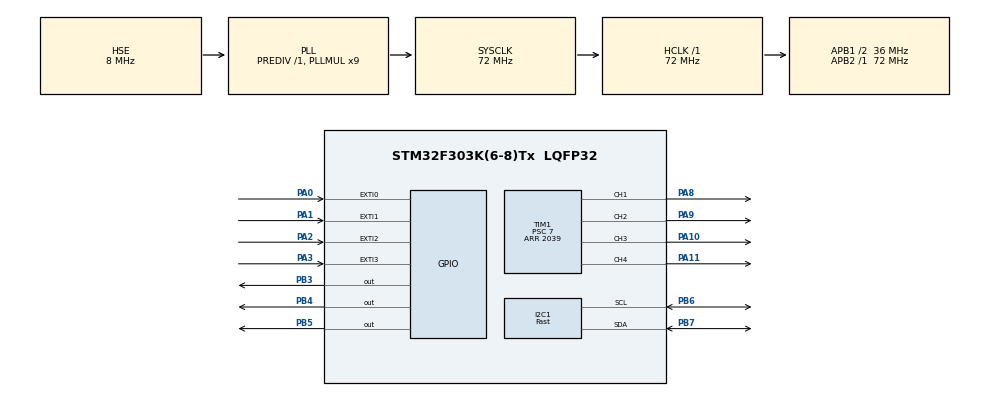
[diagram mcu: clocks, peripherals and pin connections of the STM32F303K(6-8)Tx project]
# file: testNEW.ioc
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I2C1.I2C_Speed_Mode=I2C_Fast
I2C1.Timing=0x0000020B
Mcu.Family=STM32F3
Mcu.Name=STM32F303K(6-8)Tx
Mcu.Package=LQFP32
NVIC.EXTI0_IRQn=true\:0\:0\:false\:false\:true\:true\:true
NVIC.EXTI1_IRQn=true\:0\:0\:false\:false\:true\:true\:true
NVIC.EXTI2_TSC_IRQn=true\:0\:0\:false\:false\:true\:true\:true
NVIC.EXTI3_IRQn=true\:0\:0\:false\:false\:true\:true\:true
NVIC.PriorityGroup=NVIC_PRIORITYGROUP_4
PA0.GPIO_ModeDefaultEXTI=GPIO_MODE_IT_RISING_FALLING
PA0.Signal=GPXTI0
PA1.GPIO_ModeDefaultEXTI=GPIO_MODE_IT_FALLING
PA1.Signal=GPXTI1
PA10.Signal=S_TIM1_CH3
PA11.Signal=S_TIM1_CH4
PA13.GPIO_Label=SWDIO
PA13.Mode=Serial_Wire
PA13.Signal=SYS_JTMS-SWDIO
PA14.GPIO_Label=SWCLK
PA14.Mode=Serial_Wire
PA14.Signal=SYS_JTCK-SWCLK
PA2.GPIO_ModeDefaultEXTI=GPIO_MODE_IT_FALLING
PA2.Signal=GPXTI2
PA3.GPIO_ModeDefaultEXTI=GPIO_MODE_IT_FALLING
PA3.Signal=GPXTI3
PA8.Signal=S_TIM1_CH1
PA9.Signal=S_TIM1_CH2
PB3.Signal=GPIO_Output
PB4.Signal=GPIO_Output
PB5.Signal=GPIO_Output
PB6.GPIO_FM6=__NULL
PB6.GPIO_PuPdOD=GPIO_NOPULL
PB6.Mode=I2C
PB6.Signal=I2C1_SCL
PB7.GPIO_FM7=__NULL
PB7.GPIO_PuPdOD=GPIO_NOPULL
PB7.Mode=I2C
PB7.Signal=I2C1_SDA
PF0\ /\ OSC_IN.GPIO_Label=MCO
PF0\ /\ OSC_IN.Mode=HSE-External-Clock-Source
PF0\ /\ OSC_IN.Signal=RCC_OSC_IN
ProjectManager.HeapSize=0x200
ProjectManager.StackSize=0x400
ProjectManager.TargetToolchain=SW4STM32
RCC.AHBFreq_Value=72000000
RCC.APB1CLKDivider=RCC_HCLK_DIV2
RCC.APB1Freq_Value=36000000
RCC.APB1TimFreq_Value=72000000
RCC.APB2Freq_Value=72000000
RCC.APB2TimFreq_Value=72000000
RCC.CortexFreq_Value=72000000
RCC.HCLKFreq_Value=72000000
RCC.HSE_VALUE=8000000
RCC.HSI_VALUE=8000000
RCC.PLLMUL=RCC_PLL_MUL9
RCC.PLLSourceVirtual=RCC_PLLSOURCE_HSE
RCC.SYSCLKFreq_VALUE=72000000
RCC.SYSCLKSourceVirtual=RCC_SYSCLKSOURCE_PLLCLK
SH.S_TIM1_CH1.0=TIM1_CH1,PWM Generation1 CH1
SH.S_TIM1_CH2.0=TIM1_CH2,PWM Generation2 CH2
SH.S_TIM1_CH3.0=TIM1_CH3,PWM Generation3 CH3
SH.S_TIM1_CH4.0=TIM1_CH4,PWM Generation4 CH4
TIM1.Channel-PWM\ Generation1\ CH1=TIM_CHANNEL_1
TIM1.Channel-PWM\ Generation2\ CH2=TIM_CHANNEL_2
TIM1.Channel-PWM\ Generation3\ CH3=TIM_CHANNEL_3
TIM1.Channel-PWM\ Generation4\ CH4=TIM_CHANNEL_4
TIM1.Period=2039
TIM1.Prescaler=7
TIM3.Period=4999
TIM3.Prescaler=7
VP_TIM1_VS_ClockSourceINT.Mode=Internal
VP_TIM3_VS_ClockSourceINT.Mode=Internal
board=NUCLEO-F303K8

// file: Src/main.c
/* USER CODE BEGIN Header */
/**
  ******************************************************************************
  * @file           : main.c
  * @brief          : Main program body
  ******************************************************************************
  * @attention
  *
  * <h2><center>&copy; Copyright (c) 2019 STMicroelectronics.
  * All rights reserved.</center></h2>
  *
  * This software component is licensed by ST under BSD 3-Clause license,
  * the "License"; You may not use this file except in compliance with the
  * License. You may obtain a copy of the License at:
  *                        opensource.org/licenses/BSD-3-Clause
  *
  ******************************************************************************
  */
/* USER CODE END Header */

#include "main.h"

/* USER CODE BEGIN Includes */
#include "common.h"
#include "config.h"
#include "setup.h"
#include "sensors.h"
#include "radio_input_normalization.h"
#include "pid.h"
#include "actuators.h"

   bool      armed;							  		    //Check if motors are enabled to spin
   uint8_t   check;
   uint16_t  throttle;						  		    //Raw radio channel 3 (CH3) value
   uint8_t   drone_config;							    //Vehicle configuration {QUADCOPTER,HEXACOPTER,OCTACOPTER}
   uint8_t   flight_mode;					  			//Flight controller mode (see enum modes at the beginning of the file)
   int       i;								  		    //General purpose variable used for loops
   float     cpu_load;								    //Used to know how much of time is left in control loop stay inside requested KHZ

   volatile uint16_t counter_rising_edge;	 			//Used to take the beginning of the radio pulse
   volatile uint16_t counter_falling_edge;	  		    //Used to take the end of the radio pulse
   volatile uint16_t global_input_count;      		    //Used to take the timer value at the beginning of each radio interrupt

   volatile uint8_t  CH_1_PREV_STATE;					//Take trace of the pulse edge for the channel
   volatile uint8_t  CH_2_PREV_STATE;					//Take trace of the pulse edge for the channel
   volatile uint8_t  CH_3_PREV_STATE;					//Take trace of the pulse edge for the channel
   volatile uint8_t  CH_4_PREV_STATE;					//Take trace of the pulse edge for the channel

   volatile uint16_t radio_channel_pulse[RADIO_CH_N];	//Radio pulse array

   uint16_t controller_speed; 				        //Choosen speed for control loop
   uint16_t default_controller_speed;					//Used to know when switching back from stabilized to acro if increase control loop rate or not

   float traveled_angle_multiplier;					//Variable used for gyro integration in stabilized mode
   float yaw_load_transfer_multiplier;				//Variable used for load tranfer from pitch to roll (and viceversa)
   uint8_t i2c_buffer[14];							//Buffer used to read/write data from MPU-6050 communication over I2C bus

   float angle_correction;

   uint16_t speedVec[MAX_MOTOR_N];				    //Motors speed array (min 4 motors - max 8 motors)

   float gyro_pitch_input;							//X axis angle
   float gyro_roll_input;							//Y axis angle
   float gyro_yaw_input;							//Z axis angle

   int16_t gyro_raw_x;								//X axis gyro raw value
   int16_t gyro_raw_y;								//Y axis gyro raw value
   int16_t gyro_raw_z;								//Z axis gyro raw value

   int32_t gyro_raw_error_x;							//Specific sensor X axis error mitigation
   int32_t gyro_raw_error_y;							//Specific sensor Y axis error mitigation
   int32_t gyro_raw_error_z;							//Specific sensor Z axis error mitigation

   float   gyro_angle_x;								//X axis gyro value
   float   gyro_angle_y;								//Y axis gyro value
   float   gyro_angle_z;								//Z axis gyro value

   int16_t accel_raw_x;								//X axis accelerometer raw value
   int16_t accel_raw_y;								//Y axis accelerometer raw value
   int16_t accel_raw_z;								//Z axis accelerometer raw value

   float accel_angle_error_x;							//Specific sensor X axis error mitigation
   float accel_angle_error_y;							//Specific sensor Y axis error mitigation
   float accel_angle_error_z;							//Specific sensor Z axis error mitigation (not used in 6DOF but disposed for 9DOF future IMU)

   float   gyro_stab_angle_x;							//X axis gyro value for stabilized flight mode
   float   gyro_stab_angle_y;							//Y axis gyro value for stabilized flight mode

   float   acceleration_total_vector;					//Total acceleration vector from all accelerometer components

   float   accel_stab_angle_x;						//X axis accelerometer value for stabilized flight mode
   float   accel_stab_angle_y;						//Y axis accelerometer value for stabilized flight mode
   float   accel_stab_angle_z;						//Z axis accelerometer value for stabilized flight mode (not used in 6DOF but disposed for 9DOF future IMU)

   float   total_stab_angle_x;
   float   total_stab_angle_y;

   float   kp_pitch;									//Proportional multiplicative constant for pitch
   float   ki_pitch;									//Integral     multiplicative constant for pitch
   float   kd_pitch;									//Derivative   multiplicative constant for pitch

   float   kp_roll;									//Proportional multiplicative constant for roll
   float   ki_roll;									//Integral     multiplicative constant for roll
   float   kd_roll;									//Derivative   multiplicative constant for roll

   float   kp_yaw;									//Proportional multiplicative constant for yaw
   float   ki_yaw;									//Integral     multiplicative constant for yaw
   float   kd_yaw;									//Derivative   multiplicative constant for yaw

   float error_x;									//Current error for X axis
   float error_y;									//Current error for Y axis
   float error_z;									//Current error for Z axis

   float previous_error_x;						    //Current error for X axis
   float previous_error_y;							//Current error for X axis
   float previous_error_z;							//Current error for X axis

   float pid_p_x;										//Proportional controller response for X axis
   float pid_i_x;										//Integral     controller response for X axis
   float pid_d_x;										//Derivative   controller response for X axis

   float pid_p_y;										//Proportional controller response for Y axis
   float pid_i_y;										//Integral     controller response for Y axis
   float pid_d_y;										//Derivative   controller response for Y axis

   float pid_p_z;										//Proportional controller response for Z axis
   float pid_i_z;										//Integral     controller response for Z axis
   float pid_d_z;										//Derivative   controller response for Z axis

   float total_pid_x;									//Total PID controller output for X axis
   float total_pid_y;									//Total PID controller output for Y axis
   float total_pid_z;									//Total PID controller output for Z axis

   float desired_angle_rate_x;						//Filtered input signal from user radio for pitch
   float desired_angle_rate_y;						//Filtered input signal from user radio for roll
   float desired_angle_rate_z;						//Filtered input signal from user radio for yaw

/* USER CODE END Includes */

I2C_HandleTypeDef hi2c1;

TIM_HandleTypeDef htim1;
TIM_HandleTypeDef htim3;

void SystemClock_Config(void);
static void MX_GPIO_Init(void);
static void MX_I2C1_Init(void);
static void MX_TIM1_Init(void);
static void MX_TIM3_Init(void);

int main(void)
{

  /* MCU Configuration--------------------------------------------------------*/

  /* Reset of all peripherals, Initializes the Flash interface and the Systick. */
  HAL_Init();

  /* Configure the system clock */
  SystemClock_Config();

  /* Initialize all configured peripherals */
  MX_GPIO_Init();
  MX_I2C1_Init();
  MX_TIM1_Init();
  MX_TIM3_Init();
  /* USER CODE BEGIN 2 */
  configurable_pars_initialization();
  not_configurable_pars_initialization();
  HAL_Delay(100);
  initialize_imu();
  calibrate_imu();
  /* USER CODE END 2 */

  /* Infinite loop */
  /* USER CODE BEGIN WHILE */
  while (1){

	synchr();
	check_for_motor_arm();
	map_radio_channels_to_angle_rates();
	read_imu();
	calculate_pid();
	write_motors_pulse();
	get_cpu_load();
	wait_for_next_activation();
    /* USER CODE END WHILE */

  }
}

void SystemClock_Config(void)
{
  RCC_OscInitTypeDef RCC_OscInitStruct = {0};
  RCC_ClkInitTypeDef RCC_ClkInitStruct = {0};
  RCC_PeriphCLKInitTypeDef PeriphClkInit = {0};

  /** Initializes the CPU, AHB and APB busses clocks
  */
  RCC_OscInitStruct.OscillatorType = RCC_OSCILLATORTYPE_HSI|RCC_OSCILLATORTYPE_HSE;
  RCC_OscInitStruct.HSEState = RCC_HSE_BYPASS;
  RCC_OscInitStruct.HSEPredivValue = RCC_HSE_PREDIV_DIV1;
  RCC_OscInitStruct.HSIState = RCC_HSI_ON;
  RCC_OscInitStruct.HSICalibrationValue = RCC_HSICALIBRATION_DEFAULT;
  RCC_OscInitStruct.PLL.PLLState = RCC_PLL_ON;
  RCC_OscInitStruct.PLL.PLLSource = RCC_PLLSOURCE_HSE;
  RCC_OscInitStruct.PLL.PLLMUL = RCC_PLL_MUL9;
  if (HAL_RCC_OscConfig(&RCC_OscInitStruct) != HAL_OK)
  {
    Error_Handler();
  }
  /** Initializes the CPU, AHB and APB busses clocks
  */
  RCC_ClkInitStruct.ClockType = RCC_CLOCKTYPE_HCLK|RCC_CLOCKTYPE_SYSCLK
                              |RCC_CLOCKTYPE_PCLK1|RCC_CLOCKTYPE_PCLK2;
  RCC_ClkInitStruct.SYSCLKSource = RCC_SYSCLKSOURCE_PLLCLK;
  RCC_ClkInitStruct.AHBCLKDivider = RCC_SYSCLK_DIV1;
  RCC_ClkInitStruct.APB1CLKDivider = RCC_HCLK_DIV2;
  RCC_ClkInitStruct.APB2CLKDivider = RCC_HCLK_DIV1;

  if (HAL_RCC_ClockConfig(&RCC_ClkInitStruct, FLASH_LATENCY_2) != HAL_OK)
  {
    Error_Handler();
  }
  PeriphClkInit.PeriphClockSelection = RCC_PERIPHCLK_I2C1|RCC_PERIPHCLK_TIM1;
  PeriphClkInit.I2c1ClockSelection = RCC_I2C1CLKSOURCE_HSI;
  PeriphClkInit.Tim1ClockSelection = RCC_TIM1CLK_HCLK;
  if (HAL_RCCEx_PeriphCLKConfig(&PeriphClkInit) != HAL_OK)
  {
    Error_Handler();
  }
}

static void MX_I2C1_Init(void)
{

  hi2c1.Instance = I2C1;
  hi2c1.Init.Timing = 0x0000020B;
  hi2c1.Init.OwnAddress1 = 0;
  hi2c1.Init.AddressingMode = I2C_ADDRESSINGMODE_7BIT;
  hi2c1.Init.DualAddressMode = I2C_DUALADDRESS_DISABLE;
  hi2c1.Init.OwnAddress2 = 0;
  hi2c1.Init.OwnAddress2Masks = I2C_OA2_NOMASK;
  hi2c1.Init.GeneralCallMode = I2C_GENERALCALL_DISABLE;
  hi2c1.Init.NoStretchMode = I2C_NOSTRETCH_DISABLE;
  if (HAL_I2C_Init(&hi2c1) != HAL_OK)
  {
    Error_Handler();
  }
  /** Configure Analogue filter
  */
  if (HAL_I2CEx_ConfigAnalogFilter(&hi2c1, I2C_ANALOGFILTER_ENABLE) != HAL_OK)
  {
    Error_Handler();
  }
  /** Configure Digital filter
  */
  if (HAL_I2CEx_ConfigDigitalFilter(&hi2c1, 0) != HAL_OK)
  {
    Error_Handler();
  }

}

static void MX_TIM1_Init(void)
{

  TIM_ClockConfigTypeDef sClockSourceConfig = {0};
  TIM_MasterConfigTypeDef sMasterConfig = {0};
  TIM_OC_InitTypeDef sConfigOC = {0};
  TIM_BreakDeadTimeConfigTypeDef sBreakDeadTimeConfig = {0};

  htim1.Instance = TIM1;
  htim1.Init.Prescaler = 7;
  htim1.Init.CounterMode = TIM_COUNTERMODE_UP;
  htim1.Init.Period = 2039;
  htim1.Init.ClockDivision = TIM_CLOCKDIVISION_DIV1;
  htim1.Init.RepetitionCounter = 0;
  htim1.Init.AutoReloadPreload = TIM_AUTORELOAD_PRELOAD_DISABLE;
  if (HAL_TIM_Base_Init(&htim1) != HAL_OK)
  {
    Error_Handler();
  }
  sClockSourceConfig.ClockSource = TIM_CLOCKSOURCE_INTERNAL;
  if (HAL_TIM_ConfigClockSource(&htim1, &sClockSourceConfig) != HAL_OK)
  {
    Error_Handler();
  }
  if (HAL_TIM_PWM_Init(&htim1) != HAL_OK)
  {
    Error_Handler();
  }
  sMasterConfig.MasterOutputTrigger = TIM_TRGO_RESET;
  sMasterConfig.MasterOutputTrigger2 = TIM_TRGO2_RESET;
  sMasterConfig.MasterSlaveMode = TIM_MASTERSLAVEMODE_DISABLE;
  if (HAL_TIMEx_MasterConfigSynchronization(&htim1, &sMasterConfig) != HAL_OK)
  {
    Error_Handler();
  }
  sConfigOC.OCMode = TIM_OCMODE_PWM1;
  sConfigOC.Pulse = 0;
  sConfigOC.OCPolarity = TIM_OCPOLARITY_HIGH;
  sConfigOC.OCNPolarity = TIM_OCNPOLARITY_HIGH;
  sConfigOC.OCFastMode = TIM_OCFAST_DISABLE;
  sConfigOC.OCIdleState = TIM_OCIDLESTATE_RESET;
  sConfigOC.OCNIdleState = TIM_OCNIDLESTATE_RESET;
  if (HAL_TIM_PWM_ConfigChannel(&htim1, &sConfigOC, TIM_CHANNEL_1) != HAL_OK)
  {
    Error_Handler();
  }
  if (HAL_TIM_PWM_ConfigChannel(&htim1, &sConfigOC, TIM_CHANNEL_2) != HAL_OK)
  {
    Error_Handler();
  }
  if (HAL_TIM_PWM_ConfigChannel(&htim1, &sConfigOC, TIM_CHANNEL_3) != HAL_OK)
  {
    Error_Handler();
  }
  if (HAL_TIM_PWM_ConfigChannel(&htim1, &sConfigOC, TIM_CHANNEL_4) != HAL_OK)
  {
    Error_Handler();
  }
  sBreakDeadTimeConfig.OffStateRunMode = TIM_OSSR_DISABLE;
  sBreakDeadTimeConfig.OffStateIDLEMode = TIM_OSSI_DISABLE;
  sBreakDeadTimeConfig.LockLevel = TIM_LOCKLEVEL_OFF;
  sBreakDeadTimeConfig.DeadTime = 0;
  sBreakDeadTimeConfig.BreakState = TIM_BREAK_DISABLE;
  sBreakDeadTimeConfig.BreakPolarity = TIM_BREAKPOLARITY_HIGH;
  sBreakDeadTimeConfig.BreakFilter = 0;
  sBreakDeadTimeConfig.Break2State = TIM_BREAK2_DISABLE;
  sBreakDeadTimeConfig.Break2Polarity = TIM_BREAK2POLARITY_HIGH;
  sBreakDeadTimeConfig.Break2Filter = 0;
  sBreakDeadTimeConfig.AutomaticOutput = TIM_AUTOMATICOUTPUT_DISABLE;
  if (HAL_TIMEx_ConfigBreakDeadTime(&htim1, &sBreakDeadTimeConfig) != HAL_OK)
  {
    Error_Handler();
  }
  HAL_TIM_MspPostInit(&htim1);

}

static void MX_TIM3_Init(void)
{

  TIM_ClockConfigTypeDef sClockSourceConfig = {0};
  TIM_MasterConfigTypeDef sMasterConfig = {0};

  htim3.Instance = TIM3;
  htim3.Init.Prescaler = 7;
  htim3.Init.CounterMode = TIM_COUNTERMODE_UP;
  htim3.Init.Period = 4999;
  htim3.Init.ClockDivision = TIM_CLOCKDIVISION_DIV1;
  htim3.Init.AutoReloadPreload = TIM_AUTORELOAD_PRELOAD_DISABLE;
  if (HAL_TIM_Base_Init(&htim3) != HAL_OK)
  {
    Error_Handler();
  }
  sClockSourceConfig.ClockSource = TIM_CLOCKSOURCE_INTERNAL;
  if (HAL_TIM_ConfigClockSource(&htim3, &sClockSourceConfig) != HAL_OK)
  {
    Error_Handler();
  }
  sMasterConfig.MasterOutputTrigger = TIM_TRGO_RESET;
  sMasterConfig.MasterSlaveMode = TIM_MASTERSLAVEMODE_DISABLE;
  if (HAL_TIMEx_MasterConfigSynchronization(&htim3, &sMasterConfig) != HAL_OK)
  {
    Error_Handler();
  }

}

static void MX_GPIO_Init(void)
{
  GPIO_InitTypeDef GPIO_InitStruct = {0};

  /* GPIO Ports Clock Enable */
  __HAL_RCC_GPIOF_CLK_ENABLE();
  __HAL_RCC_GPIOA_CLK_ENABLE();
  __HAL_RCC_GPIOB_CLK_ENABLE();

  /*Configure GPIO pin Output Level */
  HAL_GPIO_WritePin(GPIOB, GPIO_PIN_3|GPIO_PIN_4|GPIO_PIN_5, GPIO_PIN_RESET);

  /*Configure GPIO pin : PA0 */
  GPIO_InitStruct.Pin = GPIO_PIN_0;
  GPIO_InitStruct.Mode = GPIO_MODE_IT_RISING_FALLING;
  GPIO_InitStruct.Pull = GPIO_NOPULL;
  HAL_GPIO_Init(GPIOA, &GPIO_InitStruct);

  /*Configure GPIO pins : PA1 PA2 PA3 */
  GPIO_InitStruct.Pin = GPIO_PIN_1|GPIO_PIN_2|GPIO_PIN_3;
  GPIO_InitStruct.Mode = GPIO_MODE_IT_FALLING;
  GPIO_InitStruct.Pull = GPIO_NOPULL;
  HAL_GPIO_Init(GPIOA, &GPIO_InitStruct);

  /*Configure GPIO pins : PB3 PB4 PB5 */
  GPIO_InitStruct.Pin = GPIO_PIN_3|GPIO_PIN_4|GPIO_PIN_5;
  GPIO_InitStruct.Mode = GPIO_MODE_OUTPUT_PP;
  GPIO_InitStruct.Pull = GPIO_NOPULL;
  GPIO_InitStruct.Speed = GPIO_SPEED_FREQ_LOW;
  HAL_GPIO_Init(GPIOB, &GPIO_InitStruct);

  /* EXTI interrupt init*/
  HAL_NVIC_SetPriority(EXTI0_IRQn, 0, 0);
  HAL_NVIC_EnableIRQ(EXTI0_IRQn);

  HAL_NVIC_SetPriority(EXTI1_IRQn, 0, 0);
  HAL_NVIC_EnableIRQ(EXTI1_IRQn);

  HAL_NVIC_SetPriority(EXTI2_TSC_IRQn, 0, 0);
  HAL_NVIC_EnableIRQ(EXTI2_TSC_IRQn);

  HAL_NVIC_SetPriority(EXTI3_IRQn, 0, 0);
  HAL_NVIC_EnableIRQ(EXTI3_IRQn);

}

void Error_Handler(void)
{
}

/************************ (C) COPYRIGHT STMicroelectronics *****END OF FILE****/
